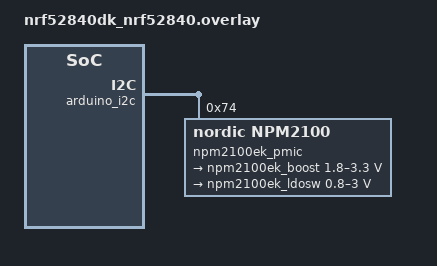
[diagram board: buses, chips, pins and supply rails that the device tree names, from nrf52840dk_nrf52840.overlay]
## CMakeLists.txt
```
# Copyright (c) 2025 Nordic Semiconductor ASA
# SPDX-License-Identifier: LicenseRef-Nordic-5-Clause

cmake_minimum_required(VERSION 3.20.0)

find_package(Zephyr REQUIRED HINTS $ENV{ZEPHYR_BASE})

project(npm2100_fuel_gauge)

add_subdirectory(src)
```

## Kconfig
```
#
# Copyright (c) 2025 Nordic Semiconductor
#
# SPDX-License-Identifier: LicenseRef-Nordic-5-Clause
#

menu "Zephyr"
source "Kconfig.zephyr"
endmenu

menu "Sample configuration"

choice BATTERY_MODEL
	prompt "Initial battery model"
	default BATTERY_MODEL_ALKALINE_AA
	help
	  Select the initial battery model to use.
	  The battery model can be changed at runtime using shell commands.

config BATTERY_MODEL_ALKALINE_AA
	bool "Alkaline AA"
	help
	  Alkaline AA cylindrical battery.

config BATTERY_MODEL_ALKALINE_AAA
	bool "Alkaline AAA"
	help
	  Alkaline AAA cylindrical battery.

config BATTERY_MODEL_ALKALINE_2SAA
	bool "Alkaline 2SAA"
	help
	  Two Alkaline AA cylindrical batteries in series.

config BATTERY_MODEL_ALKALINE_2SAAA
	bool "Alkaline 2SAAA"
	help
	  Two Alkaline AAA cylindrical batteries in series.

config BATTERY_MODEL_ALKALINE_LR44
	bool "Alkaline LR44"
	help
	  Alkaline LR44 coin cell battery.

config BATTERY_MODEL_LITHIUM_CR2032
	bool "Lithium CR2032"
	help
	  Lithium-manganese dioxide CR2032 coin cell battery.

endchoice

endmenu
```

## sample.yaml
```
# Copyright (c) 2025 Nordic Semiconductor ASA
# SPDX-License-Identifier: LicenseRef-Nordic-5-Clause
sample:
  name: nPM2100 fuel gauge

common:
  integration_platforms:
    - nrf52840dk/nrf52840
    - nrf5340dk/nrf5340/cpuapp
    - nrf54l15dk/nrf54l15/cpuapp
    - nrf54ls05dk/nrf54ls05a/cpuapp
    - nrf54ls05dk/nrf54ls05b/cpuapp
  platform_allow:
    - nrf52840dk/nrf52840
    - nrf5340dk/nrf5340/cpuapp
    - nrf54l15dk/nrf54l15/cpuapp
    - nrf54ls05dk/nrf54ls05a/cpuapp
    - nrf54ls05dk/nrf54ls05b/cpuapp
  tags:
    - pmic
    - ci_samples_pmic
tests:
  sample.npm2100_fuel_gauge_compile:
    sysbuild: true
    build_only: true
    tags:
      - sysbuild
      - ci_samples_pmic
```

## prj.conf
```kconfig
# Copyright (c) 2024 Nordic Semiconductor ASA
# SPDX-License-Identifier: LicenseRef-Nordic-5-Clause

CONFIG_SHELL=y
CONFIG_LOG=y
CONFIG_LOG_CMDS=y
CONFIG_GPIO=y
CONFIG_REGULATOR=y
CONFIG_SENSOR=y
CONFIG_I2C_SHELL=y
CONFIG_NRF_FUEL_GAUGE=y
CONFIG_NRF_FUEL_GAUGE_VARIANT_PRIMARY_CELL=y
CONFIG_REQUIRES_FLOAT_PRINTF=y
CONFIG_FLASH=y
CONFIG_FLASH_MAP=y
CONFIG_NVS=y
CONFIG_SETTINGS=y
CONFIG_SETTINGS_SHELL=y
CONFIG_NVS_LOOKUP_CACHE=y
CONFIG_SETTINGS_NVS_NAME_CACHE=y
```

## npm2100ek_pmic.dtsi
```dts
/*
 * Copyright (c) 2025 Nordic Semiconductor ASA
 *
 * SPDX-License-Identifier: LicenseRef-Nordic-5-Clause
 */

#include <dt-bindings/regulator/npm2100.h>

npm2100ek_pmic: pmic@74 {
	compatible = "nordic,npm2100";
	reg = <0x74>;

	npm2100ek_gpio: gpio-controller {
		compatible = "nordic,npm2100-gpio";
		gpio-controller;
		#gpio-cells = <2>;
		ngpios = <2>;
	};

	npm2100ek_regulators: regulators {
		compatible = "nordic,npm2100-regulator";

		/* limits are set to min/max allowed values */
		npm2100ek_boost: BOOST {
			regulator-min-microvolt = <1800000>;
			regulator-max-microvolt = <3300000>;
			regulator-init-microamp = <0>;
		};

		npm2100ek_ldosw: LDOSW {
			regulator-min-microvolt = <800000>;
			regulator-max-microvolt = <3000000>;
		};
	};

	npm2100ek_wdt: watchdog {
		compatible = "nordic,npm2100-wdt";
	};

	npm2100ek_vbat: vbat {
		compatible = "nordic,npm2100-vbat";
	};
};
```

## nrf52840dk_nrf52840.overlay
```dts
/*
 * Copyright (c) 2025 Nordic Semiconductor ASA
 *
 * SPDX-License-Identifier: LicenseRef-Nordic-5-Clause
 */

#include <dt-bindings/regulator/npm2100.h>

&i2c0_default {
	group1 {
		bias-pull-up;
	};
};

&arduino_i2c {
	npm2100ek_pmic: pmic@74 {
		compatible = "nordic,npm2100";
		reg = <0x74>;

		npm2100ek_gpio: gpio-controller {
			compatible = "nordic,npm2100-gpio";
			gpio-controller;
			#gpio-cells = <2>;
			ngpios = <2>;
		};

		npm2100ek_regulators: regulators {
			compatible = "nordic,npm2100-regulator";

			/* limits are set to min/max allowed values */
			npm2100ek_boost: BOOST {
				regulator-min-microvolt = <1800000>;
				regulator-max-microvolt = <3300000>;
				regulator-init-microamp = <0>;
			};

			npm2100ek_ldosw: LDOSW {
				regulator-min-microvolt = <800000>;
				regulator-max-microvolt = <3000000>;
			};
		};

		npm2100ek_wdt: watchdog {
			compatible = "nordic,npm2100-wdt";
		};

		npm2100ek_vbat: vbat {
			compatible = "nordic,npm2100-vbat";
		};
	};
};
```

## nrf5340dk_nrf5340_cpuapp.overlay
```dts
/*
 * Copyright (c) 2025 Nordic Semiconductor ASA
 *
 * SPDX-License-Identifier: LicenseRef-Nordic-5-Clause
 */

#include <dt-bindings/regulator/npm2100.h>

&i2c1_default {
	group1 {
		bias-pull-up;
	};
};

&arduino_i2c {
	npm2100ek_pmic: pmic@74 {
		compatible = "nordic,npm2100";
		reg = <0x74>;

		npm2100ek_gpio: gpio-controller {
			compatible = "nordic,npm2100-gpio";
			gpio-controller;
			#gpio-cells = <2>;
			ngpios = <2>;
		};

		npm2100ek_regulators: regulators {
			compatible = "nordic,npm2100-regulator";

			/* limits are set to min/max allowed values */
			npm2100ek_boost: BOOST {
				regulator-min-microvolt = <1800000>;
				regulator-max-microvolt = <3300000>;
				regulator-init-microamp = <0>;
			};

			npm2100ek_ldosw: LDOSW {
				regulator-min-microvolt = <800000>;
				regulator-max-microvolt = <3000000>;
			};
		};

		npm2100ek_wdt: watchdog {
			compatible = "nordic,npm2100-wdt";
		};

		npm2100ek_vbat: vbat {
			compatible = "nordic,npm2100-vbat";
		};
	};
};
```

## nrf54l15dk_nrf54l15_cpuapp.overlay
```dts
/*
 * Copyright (c) 2025 Nordic Semiconductor ASA
 *
 * SPDX-License-Identifier: LicenseRef-Nordic-5-Clause
 */

&pinctrl {
	i2c21_default_alt: i2c21_default_alt {
		group1 {
			psels = <NRF_PSEL(TWIM_SDA, 1, 11)>,
				<NRF_PSEL(TWIM_SCL, 1, 12)>;
			bias-pull-up;
		};
	};

	i2c21_sleep_alt: i2c21_sleep_alt {
		group1 {
			psels = <NRF_PSEL(TWIM_SDA, 1, 11)>,
				<NRF_PSEL(TWIM_SCL, 1, 12)>;
			low-power-enable;
		};
	};
};

&i2c21 {
	status = "okay";
	pinctrl-0 = <&i2c21_default_alt>;
	pinctrl-1 = <&i2c21_sleep_alt>;
	pinctrl-names = "default", "sleep";

	#include "npm2100ek_pmic.dtsi"
};
```

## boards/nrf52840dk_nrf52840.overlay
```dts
/*
 * Copyright (c) 2025 Nordic Semiconductor ASA
 *
 * SPDX-License-Identifier: LicenseRef-Nordic-5-Clause
 */

&i2c0_default {
	group1 {
		bias-pull-up;
	};
};

&arduino_i2c {
	#include "npm2100ek_pmic.dtsi"
};
```

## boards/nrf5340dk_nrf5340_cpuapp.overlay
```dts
/*
 * Copyright (c) 2025 Nordic Semiconductor ASA
 *
 * SPDX-License-Identifier: LicenseRef-Nordic-5-Clause
 */

&i2c1_default {
	group1 {
		bias-pull-up;
	};
};

&arduino_i2c {
	#include "npm2100ek_pmic.dtsi"
};
```

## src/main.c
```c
/*
 * Copyright (c) 2025 Nordic Semiconductor ASA
 * SPDX-License-Identifier: LicenseRef-Nordic-5-Clause
 */

#include <stdlib.h>

#include <zephyr/kernel.h>
#include <zephyr/device.h>
#include <zephyr/sys/printk.h>
#include <zephyr/settings/settings.h>
#include <zephyr/shell/shell.h>

#include "fuel_gauge.h"

#define SLEEP_TIME_MS 1000

static const struct device *vbat = DEVICE_DT_GET(DT_NODELABEL(npm2100ek_vbat));
static enum battery_type battery_model;
static bool fuel_gauge_initialized;

static const char *const battery_model_str[] = {[BATTERY_TYPE_ALKALINE_AA] = "Alkaline AA",
						[BATTERY_TYPE_ALKALINE_AAA] = "Alkaline AAA",
						[BATTERY_TYPE_ALKALINE_2SAA] = "Alkaline 2SAA",
						[BATTERY_TYPE_ALKALINE_2SAAA] = "Alkaline 2SAAA",
						[BATTERY_TYPE_ALKALINE_LR44] = "Alkaline LR44",
						[BATTERY_TYPE_LITHIUM_CR2032] = "Lithium CR2032"};

int main(void)
{
	int err;

	if (IS_ENABLED(CONFIG_BATTERY_MODEL_ALKALINE_AA)) {
		battery_model = BATTERY_TYPE_ALKALINE_AA;
	} else if (IS_ENABLED(CONFIG_BATTERY_MODEL_ALKALINE_AAA)) {
		battery_model = BATTERY_TYPE_ALKALINE_AAA;
	} else if (IS_ENABLED(CONFIG_BATTERY_MODEL_ALKALINE_2SAA)) {
		battery_model = BATTERY_TYPE_ALKALINE_2SAA;
	} else if (IS_ENABLED(CONFIG_BATTERY_MODEL_ALKALINE_2SAAA)) {
		battery_model = BATTERY_TYPE_ALKALINE_2SAAA;
	} else if (IS_ENABLED(CONFIG_BATTERY_MODEL_ALKALINE_LR44)) {
		battery_model = BATTERY_TYPE_ALKALINE_LR44;
	} else if (IS_ENABLED(CONFIG_BATTERY_MODEL_LITHIUM_CR2032)) {
		battery_model = BATTERY_TYPE_LITHIUM_CR2032;
	} else {
		printk("Configuration error: no battery model selected.\n");
		return 0;
	}

	fuel_gauge_initialized = false;

	if (!device_is_ready(vbat)) {
		printk("vbat device not ready.\n");
		return 0;
	}

	if (IS_ENABLED(CONFIG_SETTINGS)) {
		err = settings_subsys_init();
		if (err < 0) {
			printk("Settings subsystem could not be initialized.\n");
		}
	}

	printk("PMIC device ok\n");

	while (1) {
		if (!fuel_gauge_initialized) {
			err = fuel_gauge_init(
				vbat, battery_model, battery_model_str[battery_model]);
			if (err < 0) {
				printk("Could not initialise fuel gauge.\n");
				return 0;
			}
			printk("Fuel gauge initialised for %s battery.\n",
			       battery_model_str[battery_model]);

			fuel_gauge_initialized = true;
		}
		fuel_gauge_update(vbat);
		k_msleep(SLEEP_TIME_MS);
	}
}

#if CONFIG_SHELL
static int cmd_battery_model_set(const struct shell *sh, size_t argc, char **argv)
{
	ARG_UNUSED(argc);

	if (strcmp(argv[0], "Alkaline_AA") == 0) {
		battery_model = BATTERY_TYPE_ALKALINE_AA;
	} else if (strcmp(argv[0], "Alkaline_AAA") == 0) {
		battery_model = BATTERY_TYPE_ALKALINE_AAA;
	} else if (strcmp(argv[0], "Alkaline_2SAA") == 0) {
		battery_model = BATTERY_TYPE_ALKALINE_2SAA;
	} else if (strcmp(argv[0], "Alkaline_2SAAA") == 0) {
		battery_model = BATTERY_TYPE_ALKALINE_2SAAA;
	} else if (strcmp(argv[0], "Alkaline_LR44") == 0) {
		battery_model = BATTERY_TYPE_ALKALINE_LR44;
	} else if (strcmp(argv[0], "Lithium_CR2032") == 0) {
		battery_model = BATTERY_TYPE_LITHIUM_CR2032;
	} else {
		shell_error(sh, "Invalid battery model");
		return 0;
	}

	fuel_gauge_initialized = false;

	return 0;
}

static int cmd_battery_model_get(const struct shell *sh, size_t argc, char **argv)
{
	ARG_UNUSED(argc);
	ARG_UNUSED(argv);

	shell_print(sh, "Battery model: %s", battery_model_str[battery_model]);

	return 0;
}

SHELL_STATIC_SUBCMD_SET_CREATE(
	subcmd_battery_model,
	SHELL_CMD_ARG(Alkaline_AA, NULL, "Alkaline AA battery", cmd_battery_model_set, 1, 0),
	SHELL_CMD_ARG(Alkaline_AAA, NULL, "Alkaline AAA battery", cmd_battery_model_set, 1, 0),
	SHELL_CMD_ARG(Alkaline_2SAA, NULL, "Alkaline 2SAA battery", cmd_battery_model_set, 1, 0),
	SHELL_CMD_ARG(Alkaline_2SAAA, NULL, "Alkaline 2SAAA battery", cmd_battery_model_set, 1, 0),
	SHELL_CMD_ARG(Alkaline_LR44, NULL, "Alkaline LR44 battery", cmd_battery_model_set, 1, 0),
	SHELL_CMD_ARG(Lithium_CR2032, NULL, "Lithium CR2032 battery", cmd_battery_model_set, 1, 0),
	SHELL_SUBCMD_SET_END);

SHELL_CMD_ARG_REGISTER(battery_model, &subcmd_battery_model, "Select battery model",
		       cmd_battery_model_get, 1, 0);
#endif /* CONFIG_SHELL */
```

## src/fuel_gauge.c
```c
/*
 * Copyright (c) 2025 Nordic Semiconductor ASA
 * SPDX-License-Identifier: LicenseRef-Nordic-5-Clause
 */

#include <stdlib.h>

#include <zephyr/kernel.h>
#include <zephyr/device.h>
#include <zephyr/drivers/sensor.h>
#include <zephyr/drivers/sensor/npm2100_vbat.h>
#include <zephyr/settings/settings.h>
#include <zephyr/shell/shell.h>
#include <zephyr/sys/printk.h>
#include <zephyr/sys/util.h>

#include "fuel_gauge.h"

#include <nrf_fuel_gauge.h>

#define SETTINGS_KEY_ROOT "fuel_gauge_state"

static int64_t ref_time;

static const struct battery_model_primary battery_models[] = {
	[BATTERY_TYPE_ALKALINE_AA] = {
		#include <battery_models/primary_cell/AA_Alkaline.inc>
	},
	[BATTERY_TYPE_ALKALINE_AAA] = {
		#include <battery_models/primary_cell/AAA_Alkaline.inc>
	},
	[BATTERY_TYPE_ALKALINE_2SAA] = {
		#include <battery_models/primary_cell/2SAA_Alkaline.inc>
	},
	[BATTERY_TYPE_ALKALINE_2SAAA] = {
		#include <battery_models/primary_cell/2SAAA_Alkaline.inc>
	},
	[BATTERY_TYPE_ALKALINE_LR44] = {
		#include <battery_models/primary_cell/LR44.inc>
	},
	[BATTERY_TYPE_LITHIUM_CR2032] = {
		#include <battery_models/primary_cell/CR2032.inc>
	},
};

/* Basic assumption of average battery current.
 * Using a non-zero value improves the fuel gauge accuracy, even if the number is not exact.
 */
static const float battery_current[] = {
	[BATTERY_TYPE_ALKALINE_AA] = 5e-3f,
	[BATTERY_TYPE_ALKALINE_AAA] = 5e-3f,
	[BATTERY_TYPE_ALKALINE_2SAA] = 5e-3f,
	[BATTERY_TYPE_ALKALINE_2SAAA] = 5e-3f,
	[BATTERY_TYPE_ALKALINE_LR44] = 1.5e-3f,
	[BATTERY_TYPE_LITHIUM_CR2032] = 1.5e-3f,
};

static enum battery_type selected_battery_model;
static const char *selected_battery_model_str;
static bool store_state;
static char settings_key[sizeof(SETTINGS_KEY_ROOT) + 128];
static uint8_t fuel_gauge_state_buf[1024];

static int read_sensors(const struct device *vbat, float *voltage, float *temp)
{
	struct sensor_value value;
	int ret;

	ret = sensor_sample_fetch(vbat);
	if (ret < 0) {
		return ret;
	}

	sensor_channel_get(vbat, SENSOR_CHAN_GAUGE_VOLTAGE, &value);
	*voltage = (float)value.val1 + ((float)value.val2 / 1000000);

	sensor_channel_get(vbat, SENSOR_CHAN_DIE_TEMP, &value);
	*temp = (float)value.val1 + ((float)value.val2 / 1000000);

	return 0;
}

int fuel_gauge_init(const struct device *vbat, enum battery_type battery, const char *batt_name)
{
	struct nrf_fuel_gauge_init_parameters parameters =
		NRF_FUEL_GAUGE_DEFAULT_INIT_PARAMETERS_PRIMARY(0.0f, 0.0f, 0.0f,
			&battery_models[battery]);
	int ret;


	printk("nRF Fuel Gauge version: %s\n", nrf_fuel_gauge_version);

	ret = read_sensors(vbat, &parameters.v0, &parameters.t0);
	if (ret < 0) {
		return ret;
	}

	if (IS_ENABLED(CONFIG_SETTINGS)) {
		ssize_t len;

		ret = snprintf(
			settings_key, sizeof(settings_key), "%s/%s", SETTINGS_KEY_ROOT, batt_name);
		if (ret < 0 || ret >= sizeof(settings_key)) {
			printk("Error: Settings key format error\n");
			return -EINVAL;
		}

		len = settings_load_one(
			settings_key, fuel_gauge_state_buf, sizeof(fuel_gauge_state_buf));
		if (len == nrf_fuel_gauge_state_size) {
			parameters.state = fuel_gauge_state_buf;
			parameters.state_size = len;
			printk("Previous fuel gauge state loaded\n");
		} else {
			printk("No previous fuel gauge state found, starting fresh\n");
		}
	}

	ret = nrf_fuel_gauge_init(&parameters, NULL);
	if (ret < 0) {
		return ret;
	}

	ref_time = k_uptime_get();
	selected_battery_model = battery;
	selected_battery_model_str = batt_name;

	return 0;
}

int fuel_gauge_update(const struct device *vbat)
{
	float voltage;
	float temp;
	float soc;
	float delta;
	int ret;

	ret = read_sensors(vbat, &voltage, &temp);
	if (ret < 0) {
		printk("Error: Could not read from vbat device\n");
		return ret;
	}

	delta = (float)k_uptime_delta(&ref_time) / 1000.f;

	ret = nrf_fuel_gauge_process(
		voltage, battery_current[selected_battery_model], temp, delta, &soc, NULL);
	if (ret < 0) {
		printk("Error: Fuel gauge process failed\n");
		return ret;
	}

	printk("V: %.3f, T: %.2f, SoC: %.2f\n", (double)voltage, (double)temp, (double)soc);

	if (IS_ENABLED(CONFIG_SETTINGS) && store_state) {
		store_state = false;

		ret = nrf_fuel_gauge_state_get(fuel_gauge_state_buf, sizeof(fuel_gauge_state_buf));
		if (ret < 0) {
			printk("Error: Could not get fuel gauge state\n");
			return ret;
		}

		ret = settings_save_one(
			settings_key, fuel_gauge_state_buf, nrf_fuel_gauge_state_size);
		if (ret < 0) {
			printk("Error: Could not store fuel gauge state\n");
			return ret;
		}

		printk("Fuel gauge state stored\n");
	}

	return 0;
}

#if CONFIG_SHELL
static int cmd_fuel_gauge_state_store(const struct shell *sh, size_t argc, char **argv)
{
	ARG_UNUSED(argc);
	ARG_UNUSED(argv);

	shell_print(sh, "Storing state after next update");
	store_state = true;

	return 0;
}


SHELL_COND_CMD_ARG_REGISTER(IS_ENABLED(CONFIG_SETTINGS), fuel_gauge_state_store, NULL,
	"Store battery state after next iteration", cmd_fuel_gauge_state_store, 1, 0);
#endif /* CONFIG_SHELL */
```

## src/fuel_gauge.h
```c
/*
 * Copyright (c) 2025 Nordic Semiconductor ASA
 * SPDX-License-Identifier: LicenseRef-Nordic-5-Clause
 */

#ifndef __FUEL_GAUGE_H__
#define __FUEL_GAUGE_H__

enum battery_type {
	/* Cylindrical non-rechargeable Alkaline AA */
	BATTERY_TYPE_ALKALINE_AA,
	/* Cylindrical non-rechargeable Alkaline AAA */
	BATTERY_TYPE_ALKALINE_AAA,
	/* Cylindrical non-rechargeable Alkaline 2SAA (2 x AA in series) */
	BATTERY_TYPE_ALKALINE_2SAA,
	/* Cylindrical non-rechargeable Alkaline 2SAAA (2 x AAA in series) */
	BATTERY_TYPE_ALKALINE_2SAAA,
	/* Alkaline coin cell LR44 */
	BATTERY_TYPE_ALKALINE_LR44,
	/* Lithium-manganese dioxide coin cell CR2032 */
	BATTERY_TYPE_LITHIUM_CR2032,
};

int fuel_gauge_init(const struct device *vbat, enum battery_type battery, const char *batt_name);

int fuel_gauge_update(const struct device *vbat);

#endif /* __FUEL_GAUGE_H__ */
```
